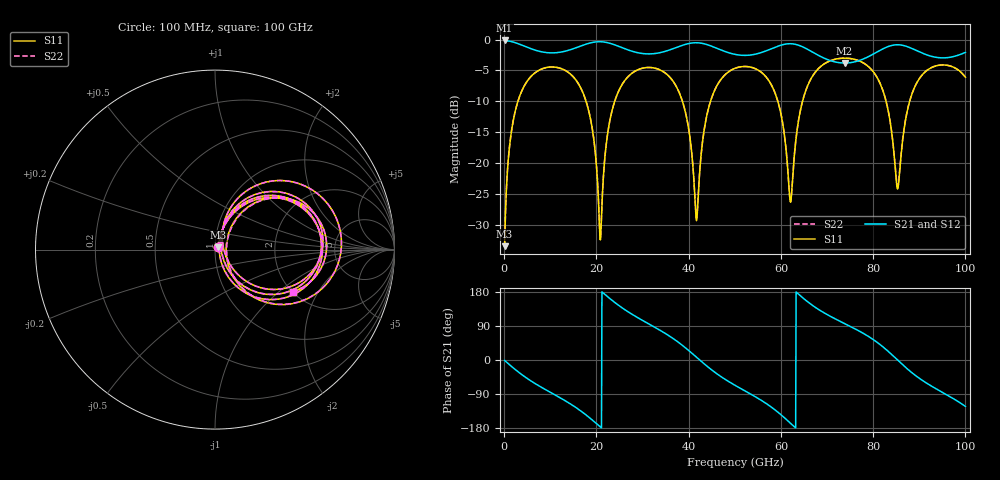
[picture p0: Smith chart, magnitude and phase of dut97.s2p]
! Touchstone file exported from HFSS 2026.1.0
!  File:  C:/ffzhzh/LocalFiles/Ansys_Project_Files/temp_train_TSV_RDL_97_1783454744_28540.aedt
!  Generated:  04:16:41 AM Jul  8, 2026
!  Design:  TSV_RDL
!  Project:  temp_train_TSV_RDL_97_1783454744_28540
! Variables:
!  h_bsmrdl = 4.87um
!  h_ox = 20um
!  h_rdl = 5um
!  h_sub = 56.4um
!  h_tmrdl = 2.64um
!  h_tsv = 56.4um
!  h_via = 3um
!  l_bsmrdl = 232.13um
!  l_sub = 2990.31um
!  l_tmrdl = 448.28um
!  m_sub = 200um
!  pitch = 51.17um
!  r_tsv = 8.6um
!  s_tmrdl = 10um
!  w_bsmrdl = 14.09um
!  w_sub = 500um
!  w_tmrdl = 19.51um
!  x_tsv_center1 = 458.035um
!  x_tsv_center2 = 704.255um
!  x_tsv_center3 = 1172.045um
!  x_tsv_center4 = 1418.265um
!  x_tsv_center5 = 1886.055um
!  x_tsv_center6 = 2132.275um
# GHz S MA R 50.000000
! Terminal data exported
! Port[1] = TM_RDL1_1_T1
! Port[2] = TM_RDL5_1_T1
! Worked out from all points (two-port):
!   1000 points, 100 MHz to 100 GHz, reference 50 ohm
!   highest |S21| = -0.15 dB at 100 MHz (marker M1); lowest = -3.8 dB at 73.8 GHz (marker M2)
!   |S21| within 3 dB of the highest: start of sweep to 69.77 GHz; 77.88 GHz to end of sweep
!   lowest |S11| = -33.5 dB at 100 MHz (marker M3), VSWR 1.04, Z = 51.8 + j1.25 ohm
!   |S11| at or under -10 dB: 17.75 GHz to 23.98 GHz (6.223 GHz wide, 29.8 % of centre); 38.65 GHz to 44.75 GHz (6.1 GHz wide, 14.6 % of centre); 59.33 GHz to 64.69 GHz (5.362 GHz wide, 8.65 % of centre) (the widest 3 of 5)
!   |S22| runs from -33.5 to -3.0 dB; largest |S21 - S12| = 2.7e-14
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0.1  0.02114 34.7  0.9828 -1.1  0.9828 -1.1  0.02114 34.7
! Gamma 0 0 0 0
! Port Impedance 50 0 50 0
1.6  0.1822 66.3  0.9622 -17.0  0.9622 -17.0  0.1822 66.3
4.5  0.4298 42.5  0.8805 -44.5  0.8805 -44.5  0.4298 42.6
10.6  0.5989 -0.5  0.7795 -89.2  0.7795 -89.2  0.5989 -0.5
16.8  0.3912 -45.0  0.8913 -136.1  0.8913 -136.1  0.3912 -44.8
19.1  0.1899 -63.0  0.9464 -158.3  0.9464 -158.3  0.19 -62.7
20.9  0.0239 15.6  0.9598 -177.0  0.9598 -177.0  0.02475 15.1
22.4  0.1691 68.5  0.9432 167.4  0.9432 167.4  0.1692 68.3
24.5  0.3582 52.9  0.8901 147.1  0.8901 147.1  0.3582 52.8
33.4  0.5752 -8.8  0.7771 81.2  0.7771 81.2  0.5752 -8.7
38.9  0.2943 -49.0  0.9044 36.2  0.9044 36.2  0.2944 -48.7
41.7  0.03405 5.2  0.9416 7.4  0.9416 7.4  0.03576 5.4
44.6  0.3035 61.1  0.8937 -22.4  0.8937 -22.4  0.3037 60.8
50.1  0.5854 21.4  0.7573 -67.1  0.7573 -67.1  0.5854 21.3
58.3  0.4026 -33.5  0.8527 -127.7  0.8527 -127.7  0.4026 -33.5
62.1  0.04802 14.0  0.9245 -167.1  0.9245 -167.1  0.04836 14.0
66.7  0.4939 50.6  0.7972 145.4  0.7972 145.4  0.4939 50.6
73.8  0.7063 5.8  0.6449 96.2  0.6449 96.2  0.7064 5.9
83.4  0.2492 -55.5  0.8812 21.4  0.8812 21.4  0.2501 -54.8
85.3  0.06146 -0.2  0.9072 -0.1  0.9072 -0.1  0.06477 -0.3
89.9  0.4748 37.5  0.7983 -47.3  0.7983 -47.3  0.4751 37.2
100  0.4945 -28.2  0.7865 -122.4  0.7865 -122.4  0.4944 -28.3
